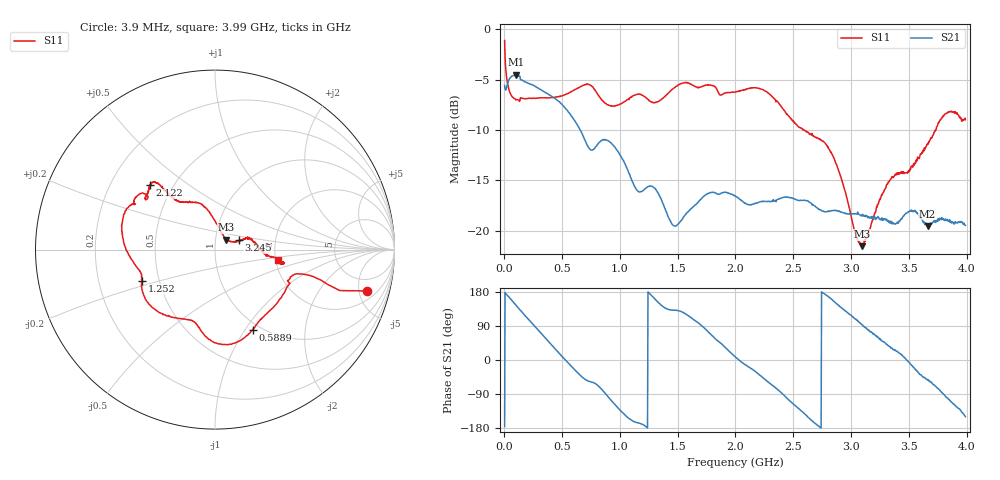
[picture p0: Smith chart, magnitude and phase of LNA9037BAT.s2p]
# HZ S RI R 50
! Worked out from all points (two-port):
!   1023 points, 3.9 MHz to 3.99 GHz, reference 50 ohm
!   highest |S21| = -4.52 dB at 101.4 MHz (marker M1); lowest = -19.5 dB at 3.662 GHz (marker M2)
!   |S21| within 3 dB of the highest: start of sweep to 505.1 MHz
!   lowest |S11| = -21.5 dB at 3.097 GHz (marker M3), VSWR 1.18, Z = 56.3 + j6.37 ohm
!   |S11| at or under -10 dB: 2.596 GHz to 3.731 GHz (1.136 GHz wide, 35.9 % of centre)
!   S12 and S22 are empty: the file has one direction only
!   S11 on the Smith chart (normalised r, x): 3.9 MHz: 2.97, -6.09; 588.9 MHz: 0.92, -1.09; 1.252 GHz: 0.40, -0.17; 2.122 GHz: 0.37, +0.36; 3.245 GHz: 1.30, +0.14; 3.99 GHz: 2.06, -0.28
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3900000  0.8496 -0.2304  -0.5245 -0.0405  0 0  0 0
3.9e7  0.4886 -0.1363  -0.5427 0.1253  0 0  0 0
1.014e8  0.4186 -0.153  -0.4851 0.3436  0 0  0 0
2.925e8  0.3488 -0.2937  0.0903 0.5035  0 0  0 0
4.485e8  0.271 -0.3727  0.4001 0.2052  0 0  0 0
5.889e8  0.2103 -0.4471  0.3464 -0.1206  0 0  0 0
6.708e8  0.1498 -0.5006  0.2202 -0.2123  0 0  0 0
9.984e8  -0.1724 -0.3874  -0.1577 -0.1822  0 0  0 0
1.2519e9  -0.4076 -0.1735  -0.1664 0.00768  0 0  0 0
1.3338e9  -0.4236 -0.1118  -0.135 0.0726  0 0  0 0
1.4703e9  -0.5096 0.048  -0.07 0.0795  0 0  0 0
1.6146e9  -0.4755 0.2433  -0.0484 0.1191  0 0  0 0
1.9968e9  -0.3758 0.3114  0.1474 0.0236  0 0  0 0
2.1216e9  -0.3618 0.3589  0.127 -0.0456  0 0  0 0
2.418e9  -0.2547 0.3066  -0.00476 -0.1469  0 0  0 0
2.6637e9  -0.1412 0.2696  -0.1265 -0.0455  0 0  0 0
2.847e9  -0.0472 0.229  -0.1158 0.0507  0 0  0 0
3.0966e9  0.0624 0.0562  -0.00702 0.1184  0 0  0 0
3.2448e9  0.1317 0.0516  0.0648 0.094  0 0  0 0
3.3267e9  0.1634 0.0619  0.0883 0.0679  0 0  0 0
3.6621e9  0.2678 -0.0124  0.0662 -0.0823  0 0  0 0
3.9897e9  0.3515 -0.0586  -0.0916 -0.0539  0 0  0 0
